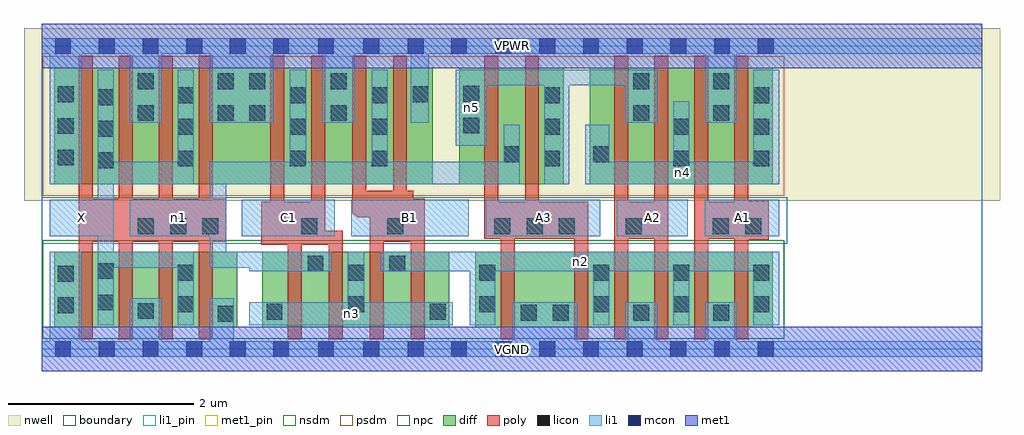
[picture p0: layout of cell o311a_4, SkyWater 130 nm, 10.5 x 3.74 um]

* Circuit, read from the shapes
.subckt o311a_4 A1 A2 A3 B1 C1 VGND VPWR X n1 n2 n3 n4 n5
XM1 X n1 VGND VSUBS sky130_fd_pr__nfet_01v8 w=0.81 l=0.15 m=4
XM2 n1 C1 n3 VSUBS sky130_fd_pr__nfet_01v8 w=0.81 l=0.15 m=2
XM3 n2 B1 n3 VSUBS sky130_fd_pr__nfet_01v8 w=0.81 l=0.15 m=2
XM4 VGND A3 n2 VSUBS sky130_fd_pr__nfet_01v8 w=0.81 l=0.15 m=2
XM5 VGND A2 n2 VSUBS sky130_fd_pr__nfet_01v8 w=0.81 l=0.15 m=2
XM6 VGND A1 n2 VSUBS sky130_fd_pr__nfet_01v8 w=0.81 l=0.15 m=2
XM7 X n1 VPWR n6 sky130_fd_pr__pfet_01v8 w=1.25 l=0.15 m=4
XM8 n1 C1 VPWR n6 sky130_fd_pr__pfet_01v8 w=1.25 l=0.15 m=2
XM9 n1 B1 VPWR n6 sky130_fd_pr__pfet_01v8 w=1.25 l=0.15 m=2
XM10 n1 A3 n5 n6 sky130_fd_pr__pfet_01v8 w=1.25 l=0.15 m=2
XM11 n5 A2 n4 n6 sky130_fd_pr__pfet_01v8 w=1.25 l=0.15 m=2
XM12 VPWR A1 n4 n6 sky130_fd_pr__pfet_01v8 w=1.25 l=0.15 m=2
.ends

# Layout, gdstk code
import gdstk
lib = gdstk.Library(unit=1e-6, precision=1e-09)
def R(c, l, rs):  # rectangles x0, y0, x1, y1
    for r in rs: c.add(gdstk.rectangle(r[:2], r[2:], *l))
def A(c, l, x, y, w, h, nx, ny, dx, dy):  # array of equal rectangles
    R(c, l, [(x+i*dx, y+j*dy, x+i*dx+w, y+j*dy+h) for i in range(nx) for j in range(ny)])
nwell = (64, 20)
diff = (65, 20)
poly = (66, 20)
licon = (66, 44)
li1_pin = (67, 16)
li1 = (67, 20)
mcon = (67, 44)
met1_pin = (68, 16)
met1 = (68, 20)
nsdm = (93, 44)
psdm = (94, 20)
npc = (95, 20)
boundary = (235, 4)

o311a_4 = lib.new_cell('o311a_4')
R(o311a_4, nwell, [(-0.19,1.595,10.31,3.45), (0,1.595,10.12,3.45)])
R(o311a_4, diff, [(0.135,0.235,2.105,1.045), (2.375,0.235,4.385,1.045), (4.665,0.235,7.865,1.045), (0.135,1.775,4.205,3.025), (4.495,1.775,5.615,3.025), (5.895,1.775,7.865,3.025)])
A(o311a_4, poly, 0.4, 0.105, 0.15, 3.05, 4, 1, 0.43, 0)
A(o311a_4, poly, 6.16, 0.105, 0.15, 3.05, 4, 1, 0.43, 0)
R(o311a_4, poly, [(2.65,0.105,2.8,1.585), (3.09,0.105,3.24,1.27), (3.53,0.105,3.68,1.7), (3.97,0.105,4.12,1.615), (4.94,0.105,5.09,1.585), (5.73,0.105,5.88,1.585), (2.36,1.12,3.05,1.585), (2.36,1.12,3.24,1.27), (2.46,1.12,2.61,3.155), (2.9,1.12,3.05,3.155), (0.4,1.155,1.985,1.615), (3.53,1.155,4.12,1.615), (3.78,1.155,3.93,3.155), (7.45,1.175,7.82,1.595), (4.76,1.185,5.88,1.585), (4.76,1.185,4.91,3.155), (5.2,1.185,5.35,3.155), (6.16,1.185,6.74,1.585), (7.02,1.185,7.82,1.585), (3.4,1.42,4.12,1.615), (3.395,1.425,4.12,1.615), (3.39,1.43,4.12,1.615), (3.38,1.435,4.12,1.615), (3.375,1.44,4.12,1.615), (3.37,1.445,4.12,1.615), (3.36,1.45,4.12,1.615), (3.35,1.455,4.12,1.615), (3.34,1.46,3.49,3.155), (3.34,1.46,4,1.7)])
A(o311a_4, licon, 5.935, 0.395, 0.17, 0.17, 3, 2, 0.86, 0.34)
A(o311a_4, licon, 0.605, 1.945, 0.17, 0.17, 1, 3, 0, 0.34)
A(o311a_4, licon, 1.465, 1.965, 0.17, 0.17, 1, 3, 0, 0.34)
A(o311a_4, licon, 2.67, 1.965, 0.17, 0.17, 1, 3, 0, 0.34)
A(o311a_4, licon, 3.55, 1.965, 0.17, 0.17, 1, 3, 0, 0.34)
A(o311a_4, licon, 5.405, 1.965, 0.17, 0.17, 1, 3, 0, 0.34)
A(o311a_4, licon, 7.655, 1.965, 0.17, 0.17, 1, 3, 0, 0.34)
A(o311a_4, licon, 0.175, 1.975, 0.17, 0.17, 1, 3, 0, 0.34)
R(o311a_4, licon, [(1.895,0.295,2.065,0.465), (5.155,0.305,5.325,0.475), (5.5,0.305,5.67,0.475), (6.365,0.305,6.535,0.475), (7.225,0.305,7.395,0.475), (2.42,0.315,2.59,0.485), (4.175,0.315,4.345,0.485), (1.035,0.325,1.205,0.495), (0.175,0.385,0.345,0.555), (1.465,0.395,1.635,0.565), (3.3,0.395,3.47,0.565), (4.71,0.395,4.88,0.565), (0.605,0.415,0.775,0.585), (0.175,0.725,0.345,0.895), (1.465,0.735,1.635,0.905), (3.3,0.735,3.47,0.905), (4.71,0.735,4.88,0.905), (0.605,0.755,0.775,0.925), (2.86,0.835,3.03,1.005), (3.74,0.835,3.91,1.005), (1.035,1.235,1.205,1.405), (1.385,1.235,1.555,1.405), (1.73,1.235,1.9,1.405), (2.795,1.235,2.965,1.405), (3.72,1.235,3.89,1.405), (4.87,1.235,5.04,1.405), (5.22,1.235,5.39,1.405), (5.565,1.235,5.735,1.405), (6.285,1.235,6.455,1.405), (7.22,1.235,7.39,1.405), (7.57,1.235,7.74,1.405), (6.795,1.965,6.965,2.135), (4.97,2.01,5.14,2.18), (5.935,2.01,6.105,2.18), (6.795,2.305,6.965,2.475), (4.535,2.32,4.705,2.49), (1.035,2.455,1.205,2.625), (1.895,2.455,2.065,2.625), (2.235,2.455,2.405,2.625), (3.11,2.455,3.28,2.625), (6.365,2.455,6.535,2.625), (7.225,2.455,7.395,2.625), (3.99,2.655,4.16,2.825), (4.535,2.66,4.705,2.83), (1.035,2.795,1.205,2.965), (1.895,2.795,2.065,2.965), (2.235,2.795,2.405,2.965), (3.11,2.795,3.28,2.965), (6.365,2.795,6.535,2.965), (7.225,2.795,7.395,2.965)])
R(o311a_4, li1_pin, [(0.085,1.215,0.775,1.605), (2.155,1.215,3.155,1.605), (3.33,1.215,4.595,1.605), (4.78,1.215,6.01,1.605), (6.185,1.215,6.95,1.605), (7.135,1.215,7.935,1.605)])
R(o311a_4, li1, [(0,-0.085,10.12,0.085), (0.085,-0.085,0.43,1.045), (0.95,-0.085,1.29,0.545), (1.81,-0.085,2.065,0.545), (5.06,-0.085,5.76,0.505), (6.28,-0.085,6.62,0.505), (7.14,-0.085,7.48,0.505), (0.605,0.255,0.775,3.005), (1.465,0.255,1.635,1.045), (2.235,0.255,4.425,0.505), (3.295,0.255,3.47,1.045), (4.605,0.255,4.88,1.045), (5.935,0.255,6.105,1.045), (6.795,0.255,6.965,1.045), (7.655,0.255,7.935,1.045), (2.235,0.835,3.12,1.045), (3.65,0.835,7.935,1.045), (0.605,0.875,1.635,1.045), (1.81,0.875,3.12,1.045), (1.81,0.875,1.985,2.015), (0.085,1.215,0.775,1.605), (0.95,1.215,1.985,1.605), (2.155,1.215,3.155,1.605), (3.33,1.215,4.595,1.605), (4.78,1.215,6.01,1.605), (6.185,1.215,6.95,1.605), (7.135,1.215,7.935,1.605), (0.085,1.775,0.43,3.345), (0.605,1.775,1.635,2.015), (1.465,1.775,1.635,3.005), (1.81,1.775,5.145,2.015), (2.67,1.775,2.845,3.005), (3.55,1.775,3.725,3.005), (4.97,1.775,5.145,2.415), (5.405,1.775,5.675,3.005), (5.85,1.775,7.935,2.015), (5.85,1.775,6.105,2.415), (6.795,1.775,6.965,2.665), (7.655,1.775,7.935,3.005), (4.455,2.185,4.79,3.005), (0.95,2.435,1.29,3.345), (1.81,2.435,2.49,3.345), (3.02,2.435,3.37,3.345), (3.97,2.435,4.165,3.345), (6.28,2.435,6.62,3.005), (7.14,2.435,7.48,3.345), (4.455,2.835,6.62,3.005), (0,3.175,10.12,3.345)])
A(o311a_4, mcon, 0.145, -0.085, 0.17, 0.17, 5, 2, 0.47, 3.26)
A(o311a_4, mcon, 2.49, -0.085, 0.17, 0.17, 3, 2, 0.485, 3.26)
A(o311a_4, mcon, 4.405, -0.085, 0.17, 0.17, 3, 2, 0.475, 3.26)
A(o311a_4, mcon, 5.825, -0.085, 0.17, 0.17, 5, 2, 0.47, 3.26)
R(o311a_4, mcon, [(3.94,-0.085,4.11,0.085), (3.94,3.175,4.11,3.345)])
R(o311a_4, met1_pin, [(0,-0.24,10.12,0.24), (0,3.02,10.12,3.5)])
R(o311a_4, met1, [(0,-0.24,10.12,0.24), (0,3.02,10.12,3.5)])
R(o311a_4, nsdm, [(0.01,0.11,7.99,1.17)])
R(o311a_4, psdm, [(0.01,1.65,7.99,3.15)])
R(o311a_4, npc, [(0,1.135,8.02,1.635)])
R(o311a_4, boundary, [(0,0,10.12,3.26)])
o311a_4.add(gdstk.Label('A1', (7.535,1.41), layer=67, texttype=5))
o311a_4.add(gdstk.Label('A2', (6.567,1.41), layer=67, texttype=5))
o311a_4.add(gdstk.Label('A3', (5.395,1.41), layer=67, texttype=5))
o311a_4.add(gdstk.Label('B1', (3.962,1.41), layer=67, texttype=5))
o311a_4.add(gdstk.Label('C1', (2.655,1.41), layer=67, texttype=5))
o311a_4.add(gdstk.Label('X', (0.43,1.41), layer=67, texttype=5))
o311a_4.add(gdstk.Label('n3', (3.33,0.38), layer=67, texttype=5))
o311a_4.add(gdstk.Label('n2', (5.792,0.94), layer=67, texttype=5))
o311a_4.add(gdstk.Label('n1', (1.467,1.41), layer=67, texttype=5))
o311a_4.add(gdstk.Label('n5', (4.622,2.595), layer=67, texttype=5))
o311a_4.add(gdstk.Label('n4', (6.892,1.895), layer=67, texttype=5))
o311a_4.add(gdstk.Label('VPWR', (5.06,3.26), layer=68, texttype=5))
o311a_4.add(gdstk.Label('VGND', (5.06,0), layer=68, texttype=5))
o311a_4.add(gdstk.Label('A1', (7.535,1.41), layer=67, texttype=16))
o311a_4.add(gdstk.Label('A2', (6.567,1.41), layer=67, texttype=16))
o311a_4.add(gdstk.Label('A3', (5.395,1.41), layer=67, texttype=16))
o311a_4.add(gdstk.Label('B1', (3.962,1.41), layer=67, texttype=16))
o311a_4.add(gdstk.Label('C1', (2.655,1.41), layer=67, texttype=16))
o311a_4.add(gdstk.Label('X', (0.43,1.41), layer=67, texttype=16))
o311a_4.add(gdstk.Label('VPWR', (5.06,3.26), layer=68, texttype=16))
o311a_4.add(gdstk.Label('VGND', (5.06,0), layer=68, texttype=16))

lib.write_gds('o311a_4.gds')
